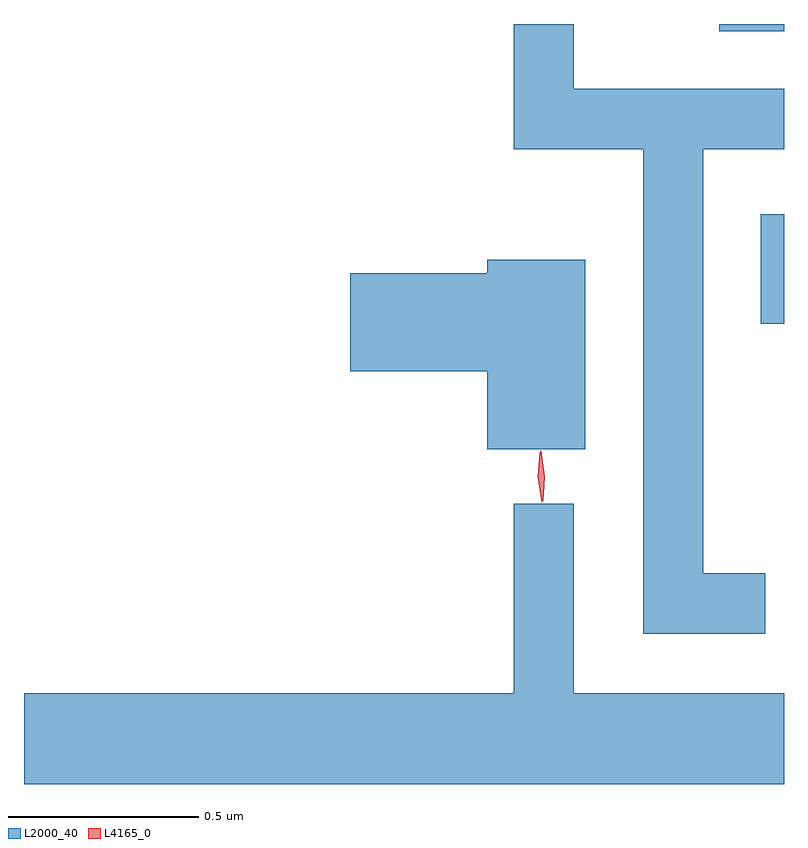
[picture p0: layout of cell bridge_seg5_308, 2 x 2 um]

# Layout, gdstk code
import gdstk
lib = gdstk.Library(unit=1e-6, precision=1e-09)
def R(c, l, rs):  # rectangles x0, y0, x1, y1
    for r in rs: c.add(gdstk.rectangle(r[:2], r[2:], *l))
def P(c, l, *ps):  # polygons
    for p in ps: c.add(gdstk.Polygon(p, *l))
L2000_40 = (2000, 40)
L4165_0 = (4165, 0)

bridge_seg5_308 = lib.new_cell('bridge_seg5_308')
R(bridge_seg5_308, L2000_40, [(620.786,1520.196,620.847,1520.484), (620.676,1520.966,620.847,1520.985)])
P(bridge_seg5_308, L2000_40, [(620.798,1519.539),(620.634,1519.539),(620.634,1520.656),(620.847,1520.656),(620.847,1520.814),(620.294,1520.814),(620.294,1520.985),(620.136,1520.985),(620.136,1520.656),(620.476,1520.656),(620.476,1519.381),(620.798,1519.381)],
  [(620.324,1520.364),(620.066,1520.364),(620.066,1520.329),(619.706,1520.329),(619.706,1520.071),(620.066,1520.071),(620.066,1519.866),(620.324,1519.866)],
  [(620.847,1519.224),(620.294,1519.224),(620.294,1519.723),(620.136,1519.723),(620.136,1519.224),(618.847,1519.224),(618.847,1518.985),(620.847,1518.985)])
P(bridge_seg5_308, L4165_0, [(620.21,1519.725),(620.21,1519.725),(620.199,1519.793),(620.207,1519.862),(620.207,1519.862),(620.208,1519.862),(620.218,1519.794),(620.21,1519.725)],
  [(620.212,1519.728),(620.212,1519.729),(620.199,1519.793),(620.204,1519.858),(620.205,1519.859),(620.205,1519.858),(620.218,1519.794),(620.213,1519.729)])

lib.write_gds('bridge_seg5_308.gds')
